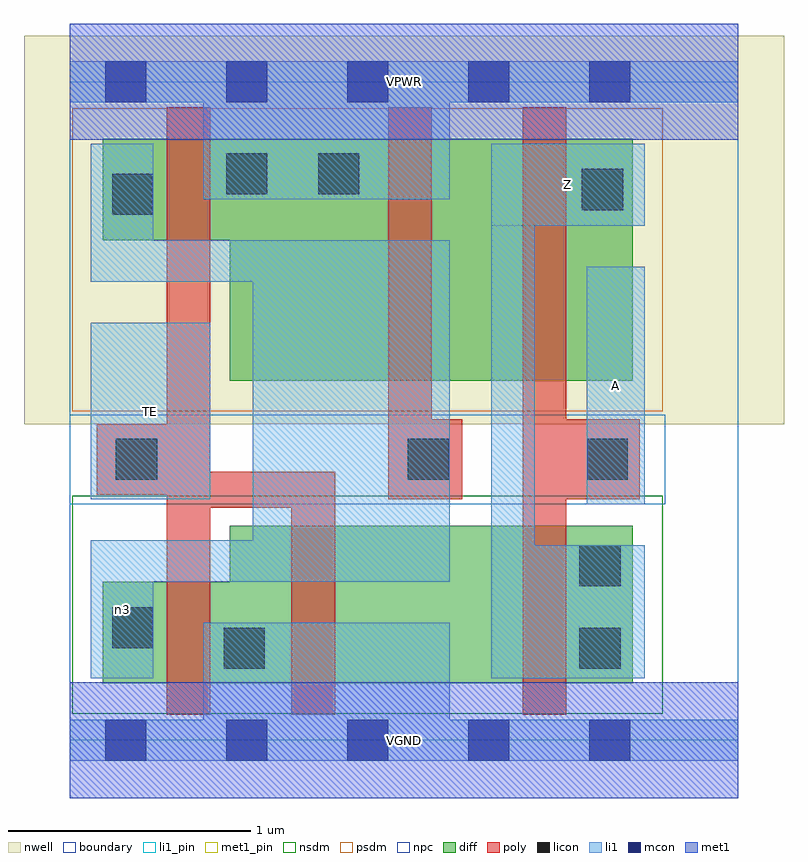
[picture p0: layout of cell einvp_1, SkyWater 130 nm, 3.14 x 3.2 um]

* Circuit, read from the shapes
.subckt einvp_1 A TE VGND VPWR Z n3
XM1 VGND TE n3 VSUBS sky130_fd_pr__nfet_01v8 w=0.42 l=0.18
XM2 n1 TE VGND VSUBS sky130_fd_pr__nfet_01v8 w=0.65 l=0.18
XM3 Z A n1 VSUBS sky130_fd_pr__nfet_01v8 w=0.65 l=0.18
XM4 VPWR TE n3 n2 sky130_fd_pr__pfet_01v8 w=0.42 l=0.18
XM5 n4 n3 VPWR n2 sky130_fd_pr__pfet_01v8 w=1 l=0.18
XM6 Z A n4 n2 sky130_fd_pr__pfet_01v8 w=1 l=0.18
.ends

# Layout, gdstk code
import gdstk
lib = gdstk.Library(unit=1e-6, precision=1e-09)
def R(c, l, rs):  # rectangles x0, y0, x1, y1
    for r in rs: c.add(gdstk.rectangle(r[:2], r[2:], *l))
def A(c, l, x, y, w, h, nx, ny, dx, dy):  # array of equal rectangles
    R(c, l, [(x+i*dx, y+j*dy, x+i*dx+w, y+j*dy+h) for i in range(nx) for j in range(ny)])
nwell = (64, 20)
diff = (65, 20)
poly = (66, 20)
licon = (66, 44)
li1_pin = (67, 16)
li1 = (67, 20)
mcon = (67, 44)
met1_pin = (68, 16)
met1 = (68, 20)
nsdm = (93, 44)
psdm = (94, 20)
npc = (95, 20)
boundary = (235, 4)

einvp_1 = lib.new_cell('einvp_1')
R(einvp_1, nwell, [(-0.19,1.305,2.95,2.91), (0,1.305,2.76,2.91)])
R(einvp_1, diff, [(0.135,0.235,2.325,0.655), (0.66,0.235,2.325,0.885), (0.66,1.485,2.325,2.485), (0.135,2.065,2.325,2.485)])
R(einvp_1, poly, [(0.4,0.105,0.58,2.615), (0.915,0.105,1.095,1.11), (1.87,0.105,2.05,2.615), (0.4,0.96,1.095,1.11), (1.315,0.995,1.495,2.615), (1.315,0.995,1.62,1.325), (1.87,0.995,2.355,1.325), (0.11,1.015,0.58,1.305)])
R(einvp_1, licon, [(0.635,0.295,0.805,0.465), (2.105,0.295,2.275,0.465), (0.175,0.38,0.345,0.55), (2.105,0.635,2.275,0.805), (0.19,1.075,0.36,1.245), (1.395,1.075,1.565,1.245), (2.135,1.075,2.305,1.245), (0.175,2.17,0.345,2.34), (2.115,2.19,2.285,2.36), (0.645,2.255,0.815,2.425), (1.025,2.255,1.195,2.425)])
R(einvp_1, li1_pin, [(2.135,0.975,2.375,1.955), (0.085,0.995,0.58,1.725), (1.74,2.125,2.375,2.465)])
R(einvp_1, li1, [(0,-0.085,2.76,0.085), (0.55,-0.085,1.57,0.485), (0.085,0.255,0.345,0.825), (1.74,0.255,1.92,2.465), (1.74,0.255,2.375,0.805), (0.085,0.655,1.57,0.825), (0.755,0.655,1.57,2.065), (2.135,0.975,2.375,1.955), (0.085,0.995,0.58,1.725), (0.085,1.895,0.345,2.465), (0.085,1.895,1.57,2.065), (1.74,2.125,2.375,2.465), (0.55,2.235,1.57,2.805), (0,2.635,2.76,2.805)])
A(einvp_1, mcon, 0.145, -0.085, 0.17, 0.17, 5, 2, 0.5, 2.72)
R(einvp_1, met1_pin, [(0,-0.24,2.76,0.24), (0,2.48,2.76,2.96)])
R(einvp_1, met1, [(0,-0.24,2.76,0.24), (0,2.48,2.76,2.96)])
R(einvp_1, nsdm, [(0.01,0.11,2.45,1.01)])
R(einvp_1, psdm, [(0.01,1.36,2.45,2.61)])
R(einvp_1, npc, [(0,0.975,2.46,1.345)])
R(einvp_1, boundary, [(0,0,2.76,2.72)])
einvp_1.add(gdstk.Label('A', (2.255,1.465), layer=67, texttype=5))
einvp_1.add(gdstk.Label('TE', (0.332,1.36), layer=67, texttype=5))
einvp_1.add(gdstk.Label('Z', (2.057,2.295), layer=67, texttype=5))
einvp_1.add(gdstk.Label('n3', (0.215,0.54), layer=67, texttype=5))
einvp_1.add(gdstk.Label('VPWR', (1.38,2.72), layer=68, texttype=5))
einvp_1.add(gdstk.Label('VGND', (1.38,0), layer=68, texttype=5))
einvp_1.add(gdstk.Label('A', (2.255,1.465), layer=67, texttype=16))
einvp_1.add(gdstk.Label('TE', (0.332,1.36), layer=67, texttype=16))
einvp_1.add(gdstk.Label('Z', (2.057,2.295), layer=67, texttype=16))
einvp_1.add(gdstk.Label('VPWR', (1.38,2.72), layer=68, texttype=16))
einvp_1.add(gdstk.Label('VGND', (1.38,0), layer=68, texttype=16))

lib.write_gds('einvp_1.gds')
